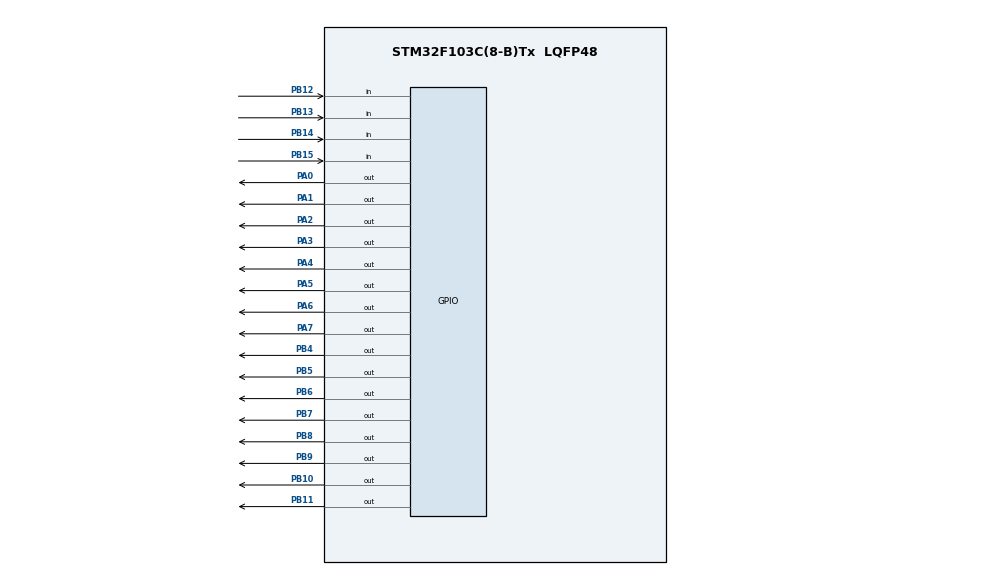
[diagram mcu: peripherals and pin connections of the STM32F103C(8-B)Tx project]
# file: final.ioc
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Mcu.Family=STM32F1
Mcu.Name=STM32F103C(8-B)Tx
Mcu.Package=LQFP48
NVIC.PriorityGroup=NVIC_PRIORITYGROUP_4
PA0-WKUP.Signal=GPIO_Output
PA1.Signal=GPIO_Output
PA13.Mode=Serial_Wire
PA13.Signal=SYS_JTMS-SWDIO
PA14.Mode=Serial_Wire
PA14.Signal=SYS_JTCK-SWCLK
PA2.Signal=GPIO_Output
PA3.Signal=GPIO_Output
PA4.Signal=GPIO_Output
PA5.Signal=GPIO_Output
PA6.Signal=GPIO_Output
PA7.Signal=GPIO_Output
PB10.Signal=GPIO_Output
PB11.Signal=GPIO_Output
PB12.GPIO_Mode=GPIO_MODE_INPUT
PB12.GPIO_PuPd=GPIO_PULLUP
PB12.Signal=GPIO_Input
PB13.GPIO_Mode=GPIO_MODE_INPUT
PB13.GPIO_PuPd=GPIO_PULLUP
PB13.Signal=GPIO_Input
PB14.GPIO_Mode=GPIO_MODE_INPUT
PB14.GPIO_PuPd=GPIO_PULLUP
PB14.Signal=GPIO_Input
PB15.GPIO_Mode=GPIO_MODE_INPUT
PB15.GPIO_PuPd=GPIO_PULLUP
PB15.Signal=GPIO_Input
PB4.Signal=GPIO_Output
PB5.Signal=GPIO_Output
PB6.Signal=GPIO_Output
PB7.Signal=GPIO_Output
PB8.Signal=GPIO_Output
PB9.Signal=GPIO_Output
ProjectManager.HeapSize=0x200
ProjectManager.StackSize=0x400
ProjectManager.TargetToolchain=STM32CubeIDE
RCC.APB1Freq_Value=8000000
RCC.APB2Freq_Value=8000000
board=custom

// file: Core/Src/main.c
/* USER CODE BEGIN Header */
/**
  ******************************************************************************
  * @file           : main.c
  * @brief          : Main program body
  ******************************************************************************
  * @attention
  *
  * <h2><center>&copy; Copyright (c) 2022 STMicroelectronics.
  * All rights reserved.</center></h2>
  *
  * This software component is licensed by ST under BSD 3-Clause license,
  * the "License"; You may not use this file except in compliance with the
  * License. You may obtain a copy of the License at:
  *                        opensource.org/licenses/BSD-3-Clause
  *
  ******************************************************************************
  */
/* USER CODE END Header */
#include "main.h"

/* USER CODE BEGIN Includes */
#include "LCD_final.h"
#include "maytinh.h"
#include "keypad.h"
/* USER CODE END Includes */

void SystemClock_Config(void);
static void MX_GPIO_Init(void);

int main(void)
{

  /* MCU Configuration--------------------------------------------------------*/

  /* Reset of all peripherals, Initializes the Flash interface and the Systick. */
  HAL_Init();

  /* Configure the system clock */
  SystemClock_Config();

  /* Initialize all configured peripherals */
  MX_GPIO_Init();
  /* USER CODE BEGIN 2 */
  LCD_Init();
  /* USER CODE END 2 */

  /* Infinite loop */
  /* USER CODE BEGIN WHILE */

  char H[50]={0}, k=0, c=0, g=0;
  long double Ans = 0;
  LCD_SendCommand(0x85);
  LCD_DisplayString("CASINO");
  LCD_SendCommand(0xC5);
  LCD_DisplayString("HELLO");
  HAL_Delay(2000);
  LCD_Clear();

  while (1)
  {
	  switch (k=key2char(get_key()))
	  {
	  case '=':			//tính và hiển thị kqua
		  H[c] = k;
		  if (c)
		  {
			  if (g)
			  {
				  LCD_Clear();
				  for (char b = 0; b<c; b++)
				  {
					  if (H[b]=='A') LCD_DisplayString("Ans");
					  else LCD_DisplayChar(H[b]);
				  }
			  }
			  Ans = (long double)tinh_toan(H,Ans);
			  LCD_SendCommand(0x02);
			  show_result (Ans);
			  HAL_Delay(200);
			  g=1; 		//đang hiện kqua
		  }
		  break;
	  case 'C':			//xóa toàn bộ biểu thức
		  LCD_Clear();
		  c=0; g=0;
		  break;
	  case 'D':   		//xóa 1 ký tự vừa nhập
		  if (!c) break;
		  else
		  {
			  LCD_Clear();
			  c--;
			  for (int j=0; j < c; j++)
			  {
				  if (H[j] == 'A') LCD_DisplayString("Ans");
				  else if (H[j] == 'P') LCD_DisplayChar(247);
				  else LCD_DisplayChar(H[j]);
			  }
			  HAL_Delay(200);
		  }
		  break;
	  default:			//nhận ký tự vào và hiển thị lên LCD kt đó
		  if (k)
		  {
			  if (g)  //nếu đang hiển thị kqua mà nhận ktu +-x/ thì MT sẽ hiểu là Ans+-x/
			  {
				  LCD_Clear();
				  c=0; g=0;
				  if (k=='+' || k=='-' || k=='x' || k=='/')
				  {
					  H[c++]='A';  LCD_DisplayString("Ans");
				  }
			  }
			  if (k == 'A') LCD_DisplayString("Ans");
			  else if (k == 'P') LCD_DisplayChar(247); //kí tự Pi
			  else LCD_DisplayChar(k);
			  H[c++] = k;
			  HAL_Delay(200);
		  }
		  break;
	  }
    /* USER CODE END WHILE */

  }
}

void SystemClock_Config(void)
{
  RCC_OscInitTypeDef RCC_OscInitStruct = {0};
  RCC_ClkInitTypeDef RCC_ClkInitStruct = {0};

  /** Initializes the RCC Oscillators according to the specified parameters
  * in the RCC_OscInitTypeDef structure.
  */
  RCC_OscInitStruct.OscillatorType = RCC_OSCILLATORTYPE_HSI;
  RCC_OscInitStruct.HSIState = RCC_HSI_ON;
  RCC_OscInitStruct.HSICalibrationValue = RCC_HSICALIBRATION_DEFAULT;
  RCC_OscInitStruct.PLL.PLLState = RCC_PLL_NONE;
  if (HAL_RCC_OscConfig(&RCC_OscInitStruct) != HAL_OK)
  {
    Error_Handler();
  }
  /** Initializes the CPU, AHB and APB buses clocks
  */
  RCC_ClkInitStruct.ClockType = RCC_CLOCKTYPE_HCLK|RCC_CLOCKTYPE_SYSCLK
                              |RCC_CLOCKTYPE_PCLK1|RCC_CLOCKTYPE_PCLK2;
  RCC_ClkInitStruct.SYSCLKSource = RCC_SYSCLKSOURCE_HSI;
  RCC_ClkInitStruct.AHBCLKDivider = RCC_SYSCLK_DIV1;
  RCC_ClkInitStruct.APB1CLKDivider = RCC_HCLK_DIV1;
  RCC_ClkInitStruct.APB2CLKDivider = RCC_HCLK_DIV1;

  if (HAL_RCC_ClockConfig(&RCC_ClkInitStruct, FLASH_LATENCY_0) != HAL_OK)
  {
    Error_Handler();
  }
}

static void MX_GPIO_Init(void)
{
  GPIO_InitTypeDef GPIO_InitStruct = {0};

  /* GPIO Ports Clock Enable */
  __HAL_RCC_GPIOA_CLK_ENABLE();
  __HAL_RCC_GPIOB_CLK_ENABLE();

  /*Configure GPIO pin Output Level */
  HAL_GPIO_WritePin(GPIOA, GPIO_PIN_0|GPIO_PIN_1|GPIO_PIN_2|GPIO_PIN_3
                          |GPIO_PIN_4|GPIO_PIN_5|GPIO_PIN_6|GPIO_PIN_7, GPIO_PIN_RESET);

  /*Configure GPIO pin Output Level */
  HAL_GPIO_WritePin(GPIOB, GPIO_PIN_10|GPIO_PIN_11|GPIO_PIN_4|GPIO_PIN_5
                          |GPIO_PIN_6|GPIO_PIN_7|GPIO_PIN_8|GPIO_PIN_9, GPIO_PIN_RESET);

  /*Configure GPIO pins : PA0 PA1 PA2 PA3
                           PA4 PA5 PA6 PA7 */
  GPIO_InitStruct.Pin = GPIO_PIN_0|GPIO_PIN_1|GPIO_PIN_2|GPIO_PIN_3
                          |GPIO_PIN_4|GPIO_PIN_5|GPIO_PIN_6|GPIO_PIN_7;
  GPIO_InitStruct.Mode = GPIO_MODE_OUTPUT_PP;
  GPIO_InitStruct.Pull = GPIO_NOPULL;
  GPIO_InitStruct.Speed = GPIO_SPEED_FREQ_LOW;
  HAL_GPIO_Init(GPIOA, &GPIO_InitStruct);

  /*Configure GPIO pins : PB10 PB11 PB4 PB5
                           PB6 PB7 PB8 PB9 */
  GPIO_InitStruct.Pin = GPIO_PIN_10|GPIO_PIN_11|GPIO_PIN_4|GPIO_PIN_5
                          |GPIO_PIN_6|GPIO_PIN_7|GPIO_PIN_8|GPIO_PIN_9;
  GPIO_InitStruct.Mode = GPIO_MODE_OUTPUT_PP;
  GPIO_InitStruct.Pull = GPIO_NOPULL;
  GPIO_InitStruct.Speed = GPIO_SPEED_FREQ_LOW;
  HAL_GPIO_Init(GPIOB, &GPIO_InitStruct);

  /*Configure GPIO pins : PB12 PB13 PB14 PB15 */
  GPIO_InitStruct.Pin = GPIO_PIN_12|GPIO_PIN_13|GPIO_PIN_14|GPIO_PIN_15;
  GPIO_InitStruct.Mode = GPIO_MODE_INPUT;
  GPIO_InitStruct.Pull = GPIO_PULLUP;
  HAL_GPIO_Init(GPIOB, &GPIO_InitStruct);

}

void Error_Handler(void)
{
  __disable_irq();
  while (1)
  {
  }
}

/************************ (C) COPYRIGHT STMicroelectronics *****END OF FILE****/
